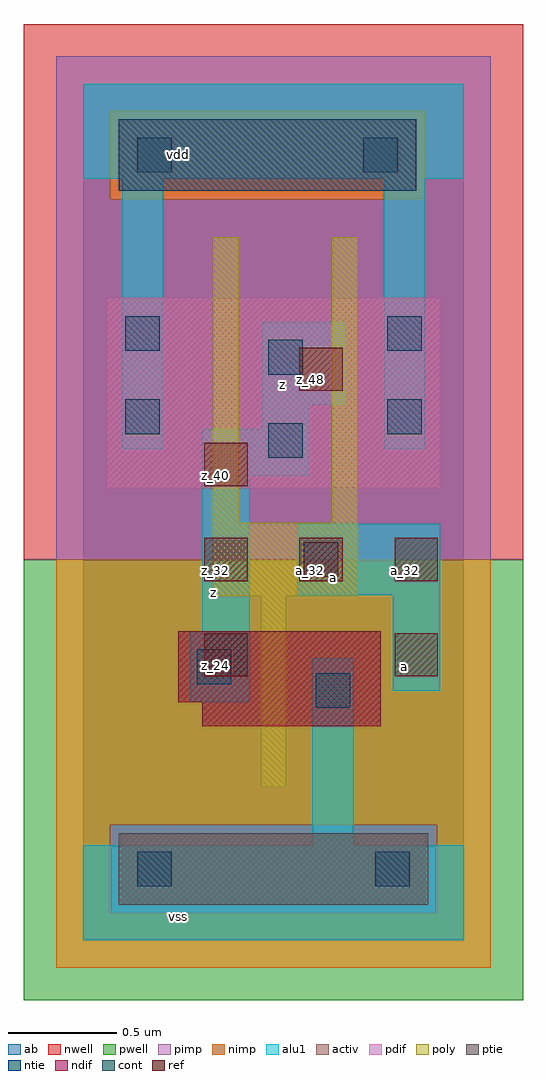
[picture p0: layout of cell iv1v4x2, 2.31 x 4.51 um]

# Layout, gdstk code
import gdstk
lib = gdstk.Library(unit=1e-6, precision=2.5e-09)
def R(c, l, rs):  # rectangles x0, y0, x1, y1
    for r in rs: c.add(gdstk.rectangle(r[:2], r[2:], *l))
def A(c, l, x, y, w, h, nx, ny, dx, dy):  # array of equal rectangles
    R(c, l, [(x+i*dx, y+j*dy, x+i*dx+w, y+j*dy+h) for i in range(nx) for j in range(ny)])
ndif = (3, 0)
pdif = (4, 0)
ntie = (5, 0)
ptie = (6, 0)
ref = (24, 0)
cont = (25, 0)
pwell = (41, 0)
nwell = (42, 0)
activ = (43, 0)
pimp = (44, 0)
nimp = (45, 0)
poly = (46, 0)
alu1 = (49, 0)
ab = (63, 0)

iv1v4x2 = lib.new_cell('iv1v4x2')
R(iv1v4x2, ndif, [(0.55,0.99,1.375,1.1), (0.44,1.1,1.375,1.43)])
R(iv1v4x2, pdif, [(0.11,2.09,1.65,2.97)])
R(iv1v4x2, ntie, [(0.165,3.465,1.54,3.795)])
R(iv1v4x2, ptie, [(0.165,0.165,1.595,0.495)])
A(iv1v4x2, ref, 0.56, 1.66, 0.2, 0.2, 3, 1, 0.44, 0)
R(iv1v4x2, ref, [(0.56,1.22,0.76,1.42), (1.44,1.22,1.64,1.42), (0.56,2.1,0.76,2.3), (1,2.54,1.2,2.74)])
R(iv1v4x2, cont, [(0.25,0.25,0.41,0.41), (1.35,0.25,1.51,0.41), (1.075,1.075,1.235,1.235), (0.525,1.185,0.685,1.345), (1.02,1.68,1.18,1.84), (0.855,2.23,1.015,2.39), (0.195,2.34,0.355,2.5), (1.405,2.34,1.565,2.5), (0.855,2.615,1.015,2.775), (0.195,2.725,0.355,2.885), (1.405,2.725,1.565,2.885), (0.25,3.55,0.41,3.71), (1.295,3.55,1.455,3.71)])
R(iv1v4x2, pwell, [(-0.275,-0.275,2.035,1.76)])
R(iv1v4x2, nwell, [(-0.275,1.76,2.035,4.235)])
R(iv1v4x2, activ, [(0.165,0.165,1.595,0.495), (0.55,0.99,1.375,1.1), (0.44,1.1,1.375,1.43), (0.11,2.09,1.65,2.97), (0.165,3.465,1.54,3.795)])
R(iv1v4x2, pimp, [(0.125,0.125,1.635,0.535), (-0.125,1.76,1.885,3.425), (-0.125,3.425,0.125,3.835), (1.58,3.425,1.885,3.835), (-0.125,3.835,1.885,4.085)])
R(iv1v4x2, nimp, [(-0.125,-0.125,1.885,0.125), (-0.125,0.125,0.125,0.535), (1.635,0.125,1.885,0.535), (-0.125,0.535,1.885,1.76), (0.125,3.425,1.58,3.835)])
R(iv1v4x2, poly, [(0.82,0.71,0.94,1.59), (0.6,1.59,1.27,1.93), (0.6,1.93,0.72,3.25), (1.15,1.93,1.27,3.25)])
R(iv1v4x2, alu1, [(0,0,1.76,0.44), (1.06,0.44,1.25,1.305), (0.495,1.1,0.77,1.43), (1.43,1.155,1.65,1.595), (0.55,1.43,0.77,2.145), (0.99,1.595,1.65,1.925), (0.55,2.145,1.045,2.365), (0.18,2.27,0.37,3.52), (1.39,2.27,1.58,3.52), (0.825,2.365,1.045,2.475), (0.825,2.475,1.21,2.86), (0,3.52,1.76,3.96)])
R(iv1v4x2, ab, [(0,0,1.76,3.96)])
iv1v4x2.add(gdstk.Label('vss', (0.44,0.11), layer=49, texttype=0))
iv1v4x2.add(gdstk.Label('a', (1.485,1.265), layer=49, texttype=0))
iv1v4x2.add(gdstk.Label('a', (1.155,1.6775), layer=49, texttype=0))
iv1v4x2.add(gdstk.Label('z', (0.605,1.6075), layer=49, texttype=0))
iv1v4x2.add(gdstk.Label('z', (0.92,2.57), layer=49, texttype=0))
iv1v4x2.add(gdstk.Label('vdd', (0.44,3.63), layer=49, texttype=0))
iv1v4x2.add(gdstk.Label('a_32', (1.49,1.71), layer=24, texttype=0))
iv1v4x2.add(gdstk.Label('z_48', (1.05,2.59), layer=24, texttype=0))
iv1v4x2.add(gdstk.Label('z_24', (0.61,1.27), layer=24, texttype=0))
iv1v4x2.add(gdstk.Label('z_32', (0.61,1.71), layer=24, texttype=0))
iv1v4x2.add(gdstk.Label('a_24', (1.49,1.27), layer=24, texttype=0))
iv1v4x2.add(gdstk.Label('a_32', (1.05,1.71), layer=24, texttype=0))
iv1v4x2.add(gdstk.Label('z_40', (0.61,2.15), layer=24, texttype=0))

lib.write_gds('iv1v4x2.gds')
